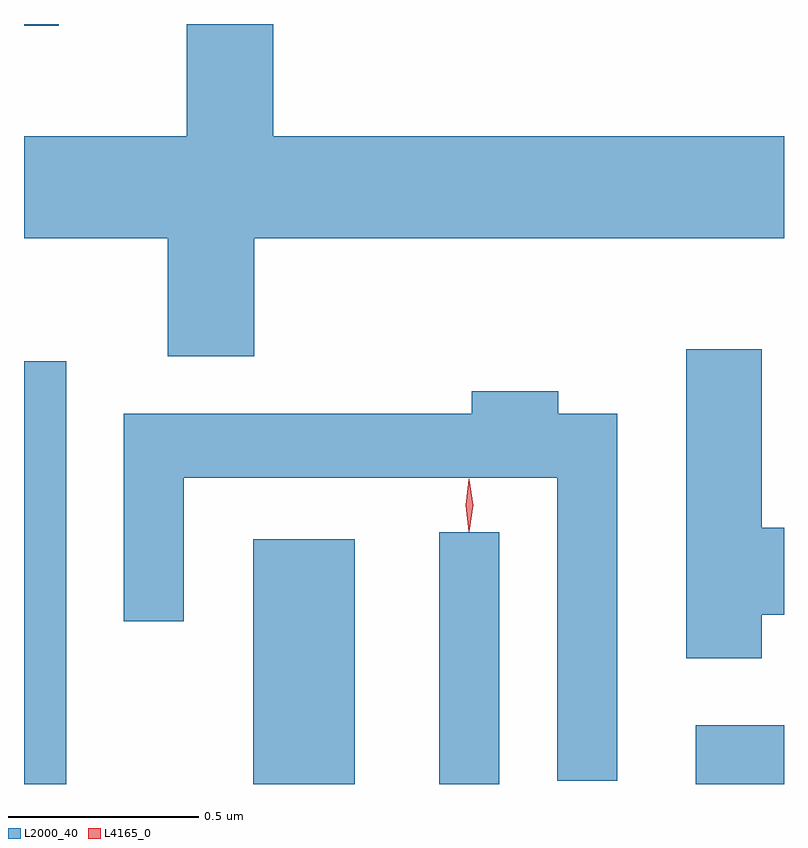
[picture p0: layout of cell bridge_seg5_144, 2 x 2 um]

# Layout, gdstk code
import gdstk
lib = gdstk.Library(unit=1e-6, precision=1e-09)
def R(c, l, rs):  # rectangles x0, y0, x1, y1
    for r in rs: c.add(gdstk.rectangle(r[:2], r[2:], *l))
def P(c, l, *ps):  # polygons
    for p in ps: c.add(gdstk.Polygon(p, *l))
L2000_40 = (2000, 40)
L4165_0 = (4165, 0)

bridge_seg5_144 = lib.new_cell('bridge_seg5_144')
R(bridge_seg5_144, L2000_40, [(1170.373,1413.18,1170.484,1414.293), (1170.976,1413.18,1171.244,1413.824), (1171.466,1413.18,1171.624,1413.843), (1172.141,1413.18,1172.373,1413.334), (1170.373,1415.176,1170.464,1415.18)])
P(bridge_seg5_144, L2000_40, [(1170.801,1414.884),(1170.373,1414.884),(1170.373,1414.616),(1170.751,1414.616),(1170.751,1414.306),(1170.979,1414.306),(1170.979,1414.616),(1172.373,1414.616),(1172.373,1414.884),(1171.029,1414.884),(1171.029,1415.18),(1170.801,1415.18)],
  [(1172.314,1413.626),(1172.373,1413.626),(1172.373,1413.854),(1172.314,1413.854),(1172.314,1414.324),(1172.116,1414.324),(1172.116,1413.511),(1172.314,1413.511)],
  [(1171.934,1414.154),(1171.779,1414.154),(1171.779,1414.214),(1171.551,1414.214),(1171.551,1414.154),(1170.636,1414.154),(1170.636,1413.608),(1170.794,1413.608),(1170.794,1413.986),(1171.776,1413.986),(1171.776,1413.188),(1171.934,1413.188)])
P(bridge_seg5_144, L4165_0, [(1171.545,1413.847),(1171.544,1413.848),(1171.535,1413.914),(1171.544,1413.98),(1171.545,1413.98),(1171.545,1413.98),(1171.555,1413.914),(1171.545,1413.848)],
  [(1171.544,1413.844),(1171.535,1413.914),(1171.544,1413.982),(1171.545,1413.983),(1171.545,1413.982),(1171.555,1413.914),(1171.545,1413.844),(1171.545,1413.844)])

lib.write_gds('bridge_seg5_144.gds')
